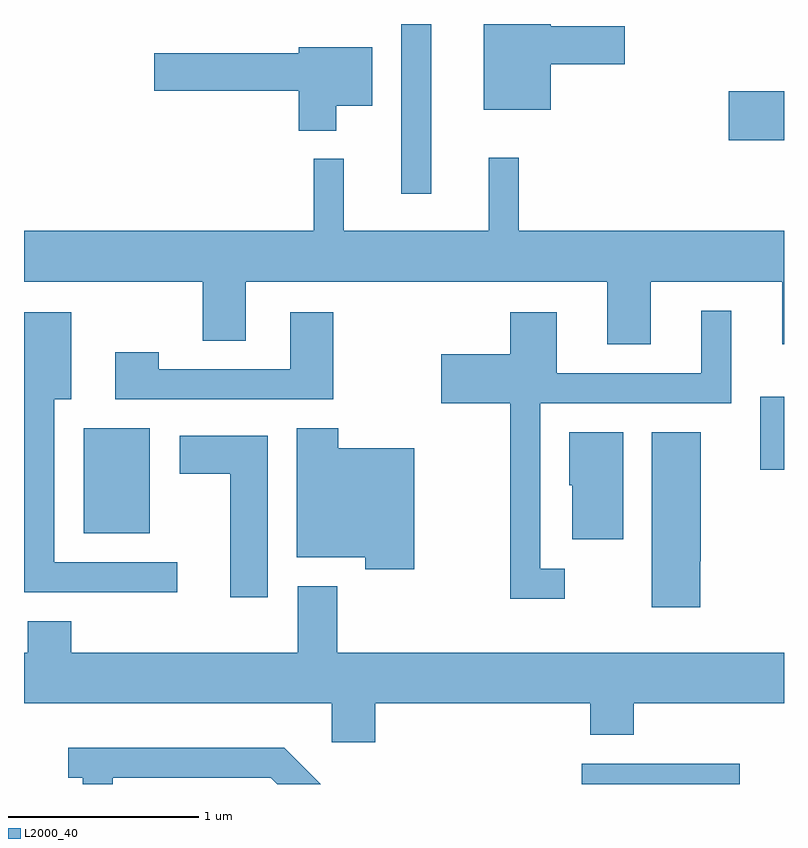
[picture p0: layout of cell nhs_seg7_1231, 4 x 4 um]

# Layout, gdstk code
import gdstk
lib = gdstk.Library(unit=1e-6, precision=1e-09)
def R(c, l, rs):  # rectangles x0, y0, x1, y1
    for r in rs: c.add(gdstk.rectangle(r[:2], r[2:], *l))
def P(c, l, *ps):  # polygons
    for p in ps: c.add(gdstk.Polygon(p, *l))
L2000_40 = (2000, 40)

nhs_seg7_1231 = lib.new_cell('nhs_seg7_1231')
R(nhs_seg7_1231, L2000_40, [(224.546,1798.252,225.378,1798.359), (221.926,1799.571,222.274,1800.124), (225.486,1799.906,225.611,1800.289), (223.596,1801.358,223.754,1802.252), (225.321,1801.641,225.611,1801.899)])
P(nhs_seg7_1231, L2000_40, [(224.384,1802.041),(224.774,1802.041),(224.774,1802.239),(224.384,1802.239),(224.384,1802.252),(224.031,1802.252),(224.031,1801.801),(224.384,1801.801)],
  [(223.254,1801.821),(223.444,1801.821),(223.444,1802.129),(223.056,1802.129),(223.056,1802.099),(222.296,1802.099),(222.296,1801.901),(223.056,1801.901),(223.056,1801.691),(223.254,1801.691)],
  [(224.909,1800.896),(225.601,1800.896),(225.601,1800.566),(225.611,1800.566),(225.611,1801.164),(224.214,1801.164),(224.214,1801.548),(224.056,1801.548),(224.056,1801.164),(223.294,1801.164),(223.294,1801.543),(223.136,1801.543),(223.136,1801.164),(221.611,1801.164),(221.611,1800.896),(222.551,1800.896),(222.551,1800.586),(222.779,1800.586),(222.779,1800.896),(224.681,1800.896),(224.681,1800.566),(224.909,1800.566)],
  [(224.458,1799.384),(224.329,1799.384),(224.329,1800.256),(225.334,1800.256),(225.334,1800.743),(225.176,1800.743),(225.176,1800.414),(224.414,1800.414),(224.414,1800.734),(224.171,1800.734),(224.171,1800.514),(223.806,1800.514),(223.806,1800.256),(224.171,1800.256),(224.171,1799.226),(224.458,1799.226)],
  [(222.418,1799.419),(221.769,1799.419),(221.769,1800.276),(221.859,1800.276),(221.859,1800.734),(221.611,1800.734),(221.611,1799.261),(222.418,1799.261)],
  [(223.239,1800.734),(223.011,1800.734),(223.011,1800.434),(222.319,1800.434),(222.319,1800.524),(222.091,1800.524),(222.091,1800.276),(223.239,1800.276)],
  [(223.664,1800.019),(223.264,1800.019),(223.264,1800.124),(223.046,1800.124),(223.046,1799.446),(223.406,1799.446),(223.406,1799.381),(223.664,1799.381)],
  [(225.169,1799.425),(225.174,1799.425),(225.174,1800.104),(224.916,1800.104),(224.916,1799.181),(225.169,1799.181)],
  [(224.764,1800.104),(224.481,1800.104),(224.481,1799.825),(224.496,1799.825),(224.496,1799.541),(224.764,1799.541)],
  [(222.894,1800.084),(222.431,1800.084),(222.431,1799.886),(222.696,1799.886),(222.696,1799.236),(222.894,1799.236)],
  [(223.459,1798.676),(224.591,1798.676),(224.591,1798.511),(224.819,1798.511),(224.819,1798.676),(225.611,1798.676),(225.611,1798.944),(223.259,1798.944),(223.259,1799.294),(223.051,1799.294),(223.051,1798.944),(221.859,1798.944),(221.859,1799.109),(221.631,1799.109),(221.631,1798.944),(221.611,1798.944),(221.611,1798.676),(223.231,1798.676),(223.231,1798.471),(223.459,1798.471)],
  [(222.079,1798.286),(222.909,1798.286),(222.943,1798.252),(223.174,1798.252),(222.982,1798.444),(221.843,1798.444),(221.843,1798.286),(221.921,1798.286),(221.921,1798.252),(222.079,1798.252)])

lib.write_gds('nhs_seg7_1231.gds')
